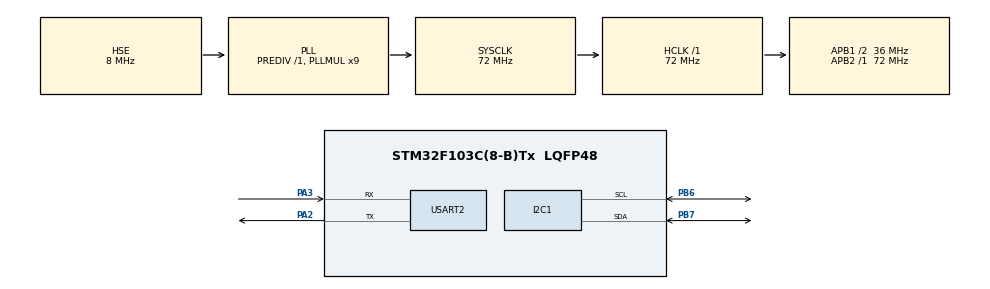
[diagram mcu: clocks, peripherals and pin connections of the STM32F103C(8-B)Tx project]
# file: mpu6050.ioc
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I2C1.I2C_Mode=I2C_Fast
Mcu.Family=STM32F1
Mcu.Name=STM32F103C(8-B)Tx
Mcu.Package=LQFP48
NVIC.PriorityGroup=NVIC_PRIORITYGROUP_4
PA13.Mode=Serial_Wire
PA13.Signal=SYS_JTMS-SWDIO
PA14.Mode=Serial_Wire
PA14.Signal=SYS_JTCK-SWCLK
PA2.Mode=Asynchronous
PA2.Signal=USART2_TX
PA3.Mode=Asynchronous
PA3.Signal=USART2_RX
PB6.Mode=I2C
PB6.Signal=I2C1_SCL
PB7.Mode=I2C
PB7.Signal=I2C1_SDA
PC14-OSC32_IN.Mode=LSE-External-Oscillator
PC14-OSC32_IN.Signal=RCC_OSC32_IN
PC15-OSC32_OUT.Mode=LSE-External-Oscillator
PC15-OSC32_OUT.Signal=RCC_OSC32_OUT
PD0-OSC_IN.Mode=HSE-External-Oscillator
PD0-OSC_IN.Signal=RCC_OSC_IN
PD1-OSC_OUT.Mode=HSE-External-Oscillator
PD1-OSC_OUT.Signal=RCC_OSC_OUT
ProjectManager.HeapSize=0x200
ProjectManager.StackSize=0x400
ProjectManager.TargetToolchain=MDK-ARM V5.32
RCC.AHBFreq_Value=72000000
RCC.APB1CLKDivider=RCC_HCLK_DIV2
RCC.APB1Freq_Value=36000000
RCC.APB1TimFreq_Value=72000000
RCC.APB2Freq_Value=72000000
RCC.APB2TimFreq_Value=72000000
RCC.HCLKFreq_Value=72000000
RCC.PLLMUL=RCC_PLL_MUL9
RCC.PLLSourceVirtual=RCC_PLLSOURCE_HSE
RCC.SYSCLKFreq_VALUE=72000000
RCC.SYSCLKSource=RCC_SYSCLKSOURCE_PLLCLK
RCC.USBFreq_Value=72000000
USART2.VirtualMode=VM_ASYNC
board=custom

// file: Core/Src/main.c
/* USER CODE BEGIN Header */
/**
 ******************************************************************************
 * @file           : main.c
 * @brief          : Main program body
 ******************************************************************************
 * @attention
 *
 * Copyright (c) 2022 STMicroelectronics.
 * All rights reserved.
 *
 * This software is licensed under terms that can be found in the LICENSE file
 * in the root directory of this software component.
 * If no LICENSE file comes with this software, it is provided AS-IS.
 *
 ******************************************************************************
 */
/* USER CODE END Header */
#include "main.h"
#include "i2c.h"
#include "usart.h"
#include "gpio.h"

/* USER CODE BEGIN Includes */
#include <stdio.h>
#include "mpu6050.h"
/* USER CODE END Includes */

void SystemClock_Config(void);

int main(void)
{
    /* USER CODE BEGIN 1 */
    uint8_t data = 0;
    /* USER CODE END 1 */

    /* MCU Configuration--------------------------------------------------------*/

    /* Reset of all peripherals, Initializes the Flash interface and the Systick. */
    HAL_Init();

    /* Configure the system clock */
    SystemClock_Config();

    /* Initialize all configured peripherals */
    MX_GPIO_Init();
    MX_I2C1_Init();
    MX_USART2_UART_Init();
    /* USER CODE BEGIN 2 */
    int16_t acc_x, acc_y, acc_z;
    int16_t temp, temp_1;
    int16_t gy_x, gy_y, gy_z;
    mpu_init();
    /* USER CODE END 2 */

    /* Infinite loop */
    /* USER CODE BEGIN WHILE */
    while (1)
    {
        acc_x = mpu_acc_x();
        acc_y = mpu_acc_y();
        acc_z = mpu_acc_z();
        temp = mpu_temp();
        temp_1 = ((temp / 340) + 36.53);
        gy_x = mpu_gy_x();
        gy_y = mpu_gy_y();
        gy_z = mpu_gy_z();

        printf("acc_x=%d,acc_y=%d,acc_z=%d,temp=%d,gy_x=%d,gy_y=%d,gy_z=%d\r\n", acc_x, acc_y, acc_z, temp_1, gy_x, gy_y, gy_z);
        HAL_Delay(200);
        /* USER CODE END WHILE */

    }
}

void SystemClock_Config(void)
{
    RCC_OscInitTypeDef RCC_OscInitStruct = {0};
    RCC_ClkInitTypeDef RCC_ClkInitStruct = {0};

    /** Initializes the RCC Oscillators according to the specified parameters
     * in the RCC_OscInitTypeDef structure.
     */
    RCC_OscInitStruct.OscillatorType = RCC_OSCILLATORTYPE_HSE;
    RCC_OscInitStruct.HSEState = RCC_HSE_ON;
    RCC_OscInitStruct.HSEPredivValue = RCC_HSE_PREDIV_DIV1;
    RCC_OscInitStruct.HSIState = RCC_HSI_ON;
    RCC_OscInitStruct.PLL.PLLState = RCC_PLL_ON;
    RCC_OscInitStruct.PLL.PLLSource = RCC_PLLSOURCE_HSE;
    RCC_OscInitStruct.PLL.PLLMUL = RCC_PLL_MUL9;
    if (HAL_RCC_OscConfig(&RCC_OscInitStruct) != HAL_OK)
    {
        Error_Handler();
    }

    /** Initializes the CPU, AHB and APB buses clocks
     */
    RCC_ClkInitStruct.ClockType = RCC_CLOCKTYPE_HCLK | RCC_CLOCKTYPE_SYSCLK | RCC_CLOCKTYPE_PCLK1 | RCC_CLOCKTYPE_PCLK2;
    RCC_ClkInitStruct.SYSCLKSource = RCC_SYSCLKSOURCE_PLLCLK;
    RCC_ClkInitStruct.AHBCLKDivider = RCC_SYSCLK_DIV1;
    RCC_ClkInitStruct.APB1CLKDivider = RCC_HCLK_DIV2;
    RCC_ClkInitStruct.APB2CLKDivider = RCC_HCLK_DIV1;

    if (HAL_RCC_ClockConfig(&RCC_ClkInitStruct, FLASH_LATENCY_2) != HAL_OK)
    {
        Error_Handler();
    }
}

void Error_Handler(void)
{
    __disable_irq();
    while (1)
    {
    }
}
